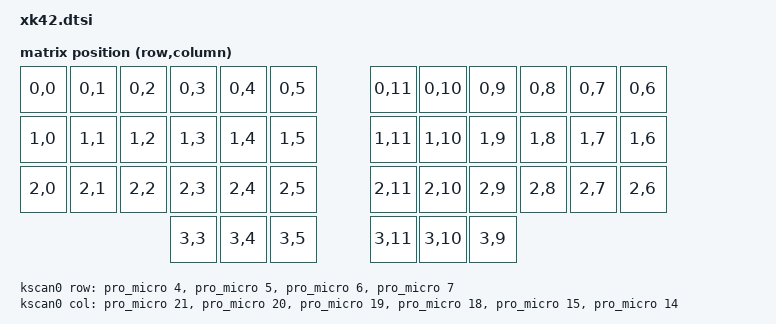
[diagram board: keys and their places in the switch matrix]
/*
 * Copyright (c) 2020 The ZMK Contributors
 *
 * SPDX-License-Identifier: MIT
 */

#include <dt-bindings/zmk/matrix_transform.h>
#include <dt-bindings/led/led.h>
#include "xk42-layouts.dtsi"

&default_layout {
    transform = <&default_transform>;
};

/ {
    chosen {
        zmk,kscan = &kscan0;
        zmk,underglow = &led_strip;
    };

    default_transform: keymap_transform_0 {
        compatible = "zmk,matrix-transform";
        columns = <12>;
        rows = <4>;
        map = <
            RC(0,0)  RC(0,1)  RC(0,2)  RC(0,3)  RC(0,4)  RC(0,5)   RC(0,11) RC(0,10) RC(0,9)  RC(0,8)  RC(0,7)  RC(0,6)
            RC(1,0)  RC(1,1)  RC(1,2)  RC(1,3)  RC(1,4)  RC(1,5)   RC(1,11) RC(1,10) RC(1,9)  RC(1,8)  RC(1,7)  RC(1,6)
            RC(2,0)  RC(2,1)  RC(2,2)  RC(2,3)  RC(2,4)  RC(2,5)   RC(2,11) RC(2,10) RC(2,9)  RC(2,8)  RC(2,7)  RC(2,6)
                                       RC(3,3)  RC(3,4)  RC(3,5)   RC(3,11)  RC(3,10)  RC(3,9)
        >;
    };

    kscan0: kscan {
        compatible = "zmk,kscan-gpio-matrix";
        wakeup-source;

        diode-direction = "col2row";
        row-gpios
            = <&pro_micro 4  (GPIO_ACTIVE_HIGH | GPIO_PULL_DOWN)>   /* gpio0 22 */
            , <&pro_micro 5  (GPIO_ACTIVE_HIGH | GPIO_PULL_DOWN)>   /* gpio0 24 */
            , <&pro_micro 6  (GPIO_ACTIVE_HIGH | GPIO_PULL_DOWN)>   /* gpio1 0  */
            , <&pro_micro 7  (GPIO_ACTIVE_HIGH | GPIO_PULL_DOWN)>   /* gpio0 11 */
            ;
        col-gpios
            = <&pro_micro 21 GPIO_ACTIVE_HIGH>   /* gpio0 31 */
            , <&pro_micro 20 GPIO_ACTIVE_HIGH>   /* gpio0 29 */
            , <&pro_micro 19 GPIO_ACTIVE_HIGH>   /* gpio0 2  */
            , <&pro_micro 18 GPIO_ACTIVE_HIGH>   /* gpio1 15 */
            , <&pro_micro 15 GPIO_ACTIVE_HIGH>   /* gpio1 13 */
            , <&pro_micro 14 GPIO_ACTIVE_HIGH>   /* gpio1 11 */
            ;
    };
};

&pinctrl {
    spi0_default: spi0_default {
        group1 {
            psels = <NRF_PSEL(SPIM_SCK, 0, 20)>,
                <NRF_PSEL(SPIM_MOSI, 0, 17)>,
                <NRF_PSEL(SPIM_MISO, 0, 25)>;
        };
    };

    spi0_sleep: spi0_sleep {
        group1 {
            psels = <NRF_PSEL(SPIM_SCK, 0, 20)>,
                <NRF_PSEL(SPIM_MOSI, 0, 17)>,
                <NRF_PSEL(SPIM_MISO, 0, 25)>;
            low-power-enable;
        };
    };

    spi3_default: spi3_default {
        group1 {
            psels = <NRF_PSEL(SPIM_MOSI, 1, 4)>;
        };
    };

    spi3_sleep: spi3_sleep {
        group1 {
            psels = <NRF_PSEL(SPIM_MOSI, 1, 4)>;
            low-power-enable;
        };
    };
};

nice_view_spi: &spi0 {
    compatible = "nordic,nrf-spim";
    pinctrl-0 = <&spi0_default>;
    pinctrl-1 = <&spi0_sleep>;
    pinctrl-names = "default", "sleep";
    cs-gpios = <&pro_micro 9 GPIO_ACTIVE_HIGH>;  /* gpio1 6 */
};

&spi3 {
    compatible = "nordic,nrf-spim";
    status = "okay";

    pinctrl-0 = <&spi3_default>;
    pinctrl-1 = <&spi3_sleep>;
    pinctrl-names = "default", "sleep";

    led_strip: ws2812@0 {
        compatible = "worldsemi,ws2812-spi";
        label = "WS2812";

        /* SPI */
        reg = <0>;
        spi-max-frequency = <4000000>;

        /* WS2812 */
        chain-length = <2>;
        spi-one-frame = <0x70>;
        spi-zero-frame = <0x40>;

        color-mapping = <LED_COLOR_ID_GREEN LED_COLOR_ID_RED LED_COLOR_ID_BLUE>;
    };
};

&pro_micro_i2c {
    status = "disabled";
};
